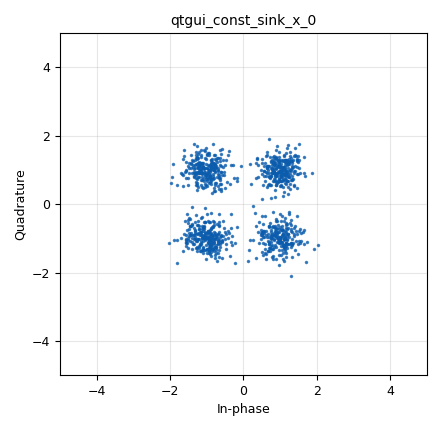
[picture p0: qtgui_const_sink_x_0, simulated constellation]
<?xml version='1.0' encoding='utf-8'?>
<?grc format='1' created='3.7.13'?>
<flow_graph>
<block>
<key>options</key>
<param><key>id</key><value>BPSK_BER_simulation</value></param>
<param><key>generate_options</key><value>qt_gui</value></param>
</block>
<block>
<key>variable</key>
<param><key>id</key><value>QPSK_MAP</value></param>
<param><key>value</key><value>[-1-1j, 1-1j, -1+1j, 1+1j]</value></param>
</block>
<block>
<key>variable_qtgui_range</key>
<param><key>id</key><value>SNR</value></param>
<param><key>value</key><value>10</value></param>
<param><key>label</key><value>SNR (dB)</value></param>
<param><key>orient</key><value>Qt.Horizontal</value></param>
<param><key>start</key><value>-15</value></param>
<param><key>step</key><value>1</value></param>
<param><key>stop</key><value>20</value></param>
</block>
<block>
<key>variable</key>
<param><key>id</key><value>modulation</value></param>
<param><key>value</key><value>digital.constellation_bpsk().base()</value></param>
</block>
<block>
<key>variable</key>
<param><key>id</key><value>samp_rate</value></param>
<param><key>value</key><value>32e4</value></param>
</block>
<block>
<key>virtual_sink</key>
<param><key>id</key><value>GT_sink</value></param>
<param><key>stream_id</key><value>GT</value></param>
</block>
<block>
<key>virtual_source</key>
<param><key>id</key><value>GT_src</value></param>
<param><key>stream_id</key><value>GT</value></param>
</block>
<block>
<key>virtual_sink</key>
<param><key>id</key><value>Receiver_snk</value></param>
<param><key>stream_id</key><value>Receiver</value></param>
</block>
<block>
<key>virtual_source</key>
<param><key>id</key><value>Receiver_src</value></param>
<param><key>stream_id</key><value>Receiver</value></param>
</block>
<block>
<key>virtual_source</key>
<param><key>id</key><value>Transmitter_Src</value></param>
<param><key>stream_id</key><value>Transmitter</value></param>
</block>
<block>
<key>virtual_sink</key>
<param><key>id</key><value>Transmitter_snk</value></param>
<param><key>stream_id</key><value>Transmitter</value></param>
</block>
<block>
<key>analog_noise_source_x</key>
<param><key>id</key><value>analog_noise_source_x_0</value></param>
<param><key>amp</key><value>math.sqrt(10**(-SNR/10)*2)</value></param>
<param><key>noise_type</key><value>analog.GR_GAUSSIAN</value></param>
<param><key>type</key><value>complex</value></param>
<param><key>seed</key><value>42</value></param>
</block>
<block>
<key>analog_random_source_x</key>
<param><key>id</key><value>analog_random_source_x_0_0</value></param>
<param><key>max</key><value>4</value></param>
<param><key>min</key><value>0</value></param>
<param><key>num_samps</key><value>1000</value></param>
<param><key>type</key><value>byte</value></param>
<param><key>repeat</key><value>True</value></param>
</block>
<block>
<key>blocks_add_xx</key>
<param><key>id</key><value>blocks_add_xx_0</value></param>
<param><key>type</key><value>complex</value></param>
</block>
<block>
<key>blocks_throttle</key>
<param><key>id</key><value>blocks_throttle_0_0</value></param>
<param><key>samples_per_second</key><value>samp_rate</value></param>
<param><key>type</key><value>complex</value></param>
</block>
<block>
<key>digital_chunks_to_symbols_xx</key>
<param><key>id</key><value>digital_chunks_to_symbols_xx_0_0</value></param>
<param><key>dimension</key><value>1</value></param>
<param><key>in_type</key><value>byte</value></param>
<param><key>out_type</key><value>complex</value></param>
<param><key>symbol_table</key><value>QPSK_MAP</value></param>
</block>
<block>
<key>epy_block</key>
<param><key>id</key><value>epy_block_0</value></param>
<param><key>_source_code</key><value>"""
Embedded Python Blocks:

Each time this file is saved, GRC will instantiate the first class it finds
to get ports and parameters of your block. The arguments to __init__  will
be the parameters. All of them are required to have default values!
"""

import numpy as np
from gnuradio import gr


class blk(gr.sync_block):  # other base classes are basic_block, decim_block, interp_block
    """Embedded Python Block example - a simple multiply const"""

    def __init__(self, window_size=10000):  # only default arguments here
        """arguments to this function show up as parameters in GRC"""
        gr.sync_block.__init__(
            self,
            name='BER for QPSK',   # will show up in GRC
            in_sig=[np.byte, np.byte],
            out_sig=[np.float32]
        )
        
        """
        We created three member variables for you.
        self.window_size: the number of symbols we keep track of
        self.window: a memory of shape (window_size, ). Used to store the most recent
        self.win_ptr: pointing to a position in self.window.
        """
        self.window_size = int(window_size)
        self.window = np.zeros(int(window_size))
        self.win_ptr = 1 % self.window_size
	


    def work(self, input_items, output_items):
        """
        Add your BER computation method here.
        
        This block takes in two input streams and one block parameter, window_size. 
        The general idea is to use a cyclic-queue (self.window) to store the number of bit errors for the 
        most recent window_size pairs of symbols. 

        We have already provided the BER updating codes. Your task is to update self.window, we compute 
        BER by taking an average of the error bits per symbol.

        Of course, you can change the code if you perfer another method.

        tricky method 1 to compute bit errors per symbol:
            use bit operations to check whether two bytes are the same. E.g.
            a = 3, b=2  # a = 0b11 b = 0b10
            err = a ^ b # a^b = 0b01
            biterrors = (error &amp; 0b10)&gt;&gt;1 + (error &amp; 0b01)
        
        tricky method 2:
            create a look-up table for each possible pair of input symbols.


        
        inputs: 
            input_items: a numpy.array of data type np.byte and of size (2, ?)
        
        outputs:
            output_items: a numpy.array of data type np.float and of size (1, ?)

        The number of input samples should always be the same as the number of output
        
        """
        ###############################################
        




        ###############################################

        # output_items is updated once per function call. It's lazy but fast.
        BER = sum(self.window) / self.window_size
        output_items[0][:] = np.ones(len(input_items[0][:])) * BER

        return len(output_items[0])
</value></param>
<param><key>comment</key><value>You need to work on this block</value></param>
<param><key>window_size</key><value>1e5</value></param>
</block>
<block>
<key>epy_block</key>
<param><key>id</key><value>epy_block_0_0</value></param>
<param><key>_source_code</key><value>"""
Embedded Python Blocks:

Each time this file is saved, GRC will instantiate the first class it finds
to get ports and parameters of your block. The arguments to __init__  will
be the parameters. All of them are required to have default values!
"""

import numpy as np
from gnuradio import gr


class blk(gr.sync_block):  # other base classes are basic_block, decim_block, interp_block
    """Embedded Python Block example - a simple multiply const"""

    def __init__(self):  # only default arguments here
        """arguments to this function show up as parameters in GRC"""
        gr.sync_block.__init__(
            self,
            name='QPSK Decoder python2.7',   # block name to display
            in_sig=[np.complex64], # input data type 
            out_sig=[np.byte]	   # output data type (similar to char in C/C++)
        )

    def work(self, input_items, output_items):
	"""
	Add your QPSK decoding method here
	
	This is a single-in-single-out block. So the input_items and output_items are both a numpy 2-d list of 
	size (1, ?). The number of data in the input_items[0] is NOT a constant, you should determine it in real
	time if you would like to use a for-loop. Since the data type is numpy.array, we recommend to use matrix
	operations to speed up.
	
	inputs: 
		input_items: a numpy.array of data type np.complex64 and of size (1, ?)
	
	outputs:
		output_items: a numpy.array of data type np.byte and of size (1, ?)

	The number of input samples should always be the same as the number of output
	
	"""
	#print(input_items[0][:2])
        output_items[0][:] = input_items[0].real # dummy code. 
	

	#######################################
	
	# Required by GNURadio, you must return the number of data that can be processed by the following block
	# In this case, it's the number of decoded symbols
        return len(output_items[0]) 
</value></param>
<param><key>comment</key><value>You need to work on this block</value></param>
</block>
<block>
<key>import</key>
<param><key>id</key><value>import_0</value></param>
<param><key>import</key><value>import math</value></param>
</block>
<block>
<key>qtgui_const_sink_x</key>
<param><key>id</key><value>qtgui_const_sink_x_0</value></param>
<param><key>size</key><value>1024</value></param>
<param><key>type</key><value>complex</value></param>
<param><key>xmax</key><value>5</value></param>
<param><key>xmin</key><value>-5</value></param>
<param><key>ymax</key><value>5</value></param>
<param><key>ymin</key><value>-5</value></param>
</block>
<block>
<key>qtgui_number_sink</key>
<param><key>id</key><value>qtgui_number_sink_0</value></param>
<param><key>graph_type</key><value>qtgui.NUM_GRAPH_HORIZ</value></param>
<param><key>type</key><value>float</value></param>
<param><key>min</key><value>-0.1</value></param>
<param><key>name</key><value>"Bit Error Rate"</value></param>
</block>
<block>
<key>rpi_iot_BER_bbf</key>
<param><key>id</key><value>rpi_iot_BER_bbf_0</value></param>
<param><key>comment</key><value>Use this ground-truth block to check the correctness of your code.
Press D to disable a block.
Press E to enable a block.</value></param>
<param><key>bit_per_symbol</key><value>1</value></param>
<param><key>window_size</key><value>1000000</value></param>
</block>
<block>
<key>rpi_iot_QPSK_Decoder_cb</key>
<param><key>id</key><value>rpi_iot_QPSK_Decoder_cb_0</value></param>
<param><key>comment</key><value>Use this ground-truth block to check the correctness of your code.
Press D to disable a block.
Press E to enable a block.</value></param>
</block>
<connection><source_block_id>GT_src</source_block_id><sink_block_id>epy_block_0</sink_block_id><source_key>0</source_key><sink_key>1</sink_key></connection>
<connection><source_block_id>GT_src</source_block_id><sink_block_id>rpi_iot_BER_bbf_0</sink_block_id><source_key>0</source_key><sink_key>1</sink_key></connection>
<connection><source_block_id>Receiver_src</source_block_id><sink_block_id>epy_block_0_0</sink_block_id><source_key>0</source_key><sink_key>0</sink_key></connection>
<connection><source_block_id>Receiver_src</source_block_id><sink_block_id>rpi_iot_QPSK_Decoder_cb_0</sink_block_id><source_key>0</source_key><sink_key>0</sink_key></connection>
<connection><source_block_id>Transmitter_Src</source_block_id><sink_block_id>blocks_add_xx_0</sink_block_id><source_key>0</source_key><sink_key>0</sink_key></connection>
<connection><source_block_id>analog_noise_source_x_0</source_block_id><sink_block_id>blocks_add_xx_0</sink_block_id><source_key>0</source_key><sink_key>1</sink_key></connection>
<connection><source_block_id>analog_random_source_x_0_0</source_block_id><sink_block_id>GT_sink</sink_block_id><source_key>0</source_key><sink_key>0</sink_key></connection>
<connection><source_block_id>analog_random_source_x_0_0</source_block_id><sink_block_id>digital_chunks_to_symbols_xx_0_0</sink_block_id><source_key>0</source_key><sink_key>0</sink_key></connection>
<connection><source_block_id>blocks_add_xx_0</source_block_id><sink_block_id>Receiver_snk</sink_block_id><source_key>0</source_key><sink_key>0</sink_key></connection>
<connection><source_block_id>blocks_add_xx_0</source_block_id><sink_block_id>qtgui_const_sink_x_0</sink_block_id><source_key>0</source_key><sink_key>0</sink_key></connection>
<connection><source_block_id>blocks_throttle_0_0</source_block_id><sink_block_id>Transmitter_snk</sink_block_id><source_key>0</source_key><sink_key>0</sink_key></connection>
<connection><source_block_id>digital_chunks_to_symbols_xx_0_0</source_block_id><sink_block_id>blocks_throttle_0_0</sink_block_id><source_key>0</source_key><sink_key>0</sink_key></connection>
<connection><source_block_id>epy_block_0</source_block_id><sink_block_id>qtgui_number_sink_0</sink_block_id><source_key>0</source_key><sink_key>0</sink_key></connection>
<connection><source_block_id>epy_block_0_0</source_block_id><sink_block_id>epy_block_0</sink_block_id><source_key>0</source_key><sink_key>0</sink_key></connection>
<connection><source_block_id>epy_block_0_0</source_block_id><sink_block_id>rpi_iot_BER_bbf_0</sink_block_id><source_key>0</source_key><sink_key>0</sink_key></connection>
<connection><source_block_id>rpi_iot_BER_bbf_0</source_block_id><sink_block_id>qtgui_number_sink_0</sink_block_id><source_key>0</source_key><sink_key>0</sink_key></connection>
<connection><source_block_id>rpi_iot_QPSK_Decoder_cb_0</source_block_id><sink_block_id>epy_block_0</sink_block_id><source_key>0</source_key><sink_key>0</sink_key></connection>
<connection><source_block_id>rpi_iot_QPSK_Decoder_cb_0</source_block_id><sink_block_id>rpi_iot_BER_bbf_0</sink_block_id><source_key>0</source_key><sink_key>0</sink_key></connection>
</flow_graph>
